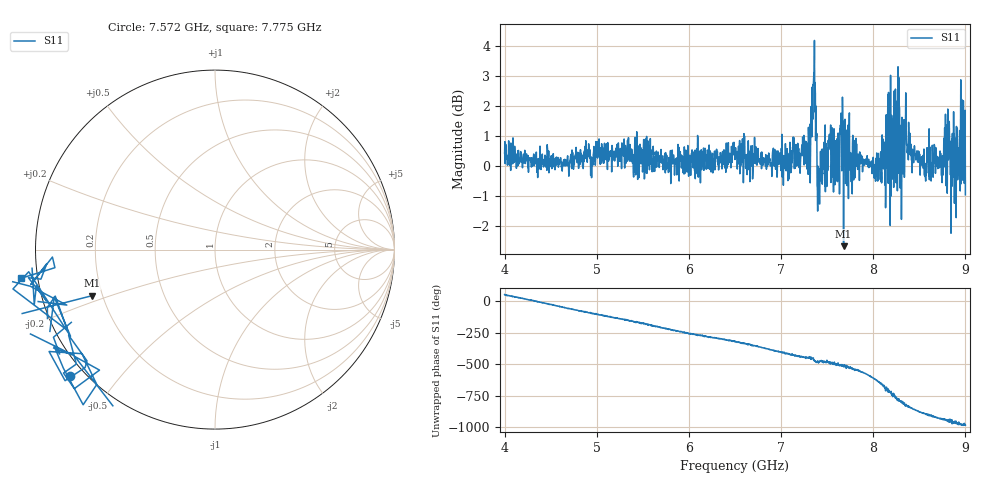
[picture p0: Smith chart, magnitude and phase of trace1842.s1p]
! Created with skrf 1.8.0 (http://scikit-rf.org).
# Hz S RI R 50.0
!freq ReS11 ImS11
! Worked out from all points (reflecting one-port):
!   1601 points, 4 GHz to 9 GHz, reference 50 ohm
!   lowest |S11| = -2.7 dB at 7.678 GHz (marker M1), VSWR 6.51, Z = 7.92 - j8.84 ohm
!   phase of S11 starts at 54 deg and turns -1040 deg over the sweep
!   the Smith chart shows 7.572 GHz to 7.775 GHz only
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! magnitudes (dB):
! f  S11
! 4 GHz  0.4
! 4.625 GHz  -0.2
! 5.25 GHz  0.1
! 5.875 GHz  0.1
! 6.5 GHz  0.2
! 7.125 GHz  0.6
! 7.297 GHz  1.3
! 7.347 GHz  2.7
! 7.362 GHz  4.2
! 7.4 GHz  0.0
! 7.416 GHz  -1.3
! 7.512 GHz  0.9
! 7.591 GHz  0.7
! 7.65 GHz  1.8
! 7.678 GHz  -2.7
! 7.75 GHz  0.1
! 8.069 GHz  0.2
! 8.162 GHz  -0.6
! 8.197 GHz  0.7
! 8.262 GHz  -0.8
! 8.316 GHz  0.3
! 8.334 GHz  1.5
! 8.375 GHz  0.6
! 8.556 GHz  -0.3
! 8.809 GHz  1.9
! 8.856 GHz  -0.7
! 8.972 GHz  0.3
! 9 GHz  -1.0
